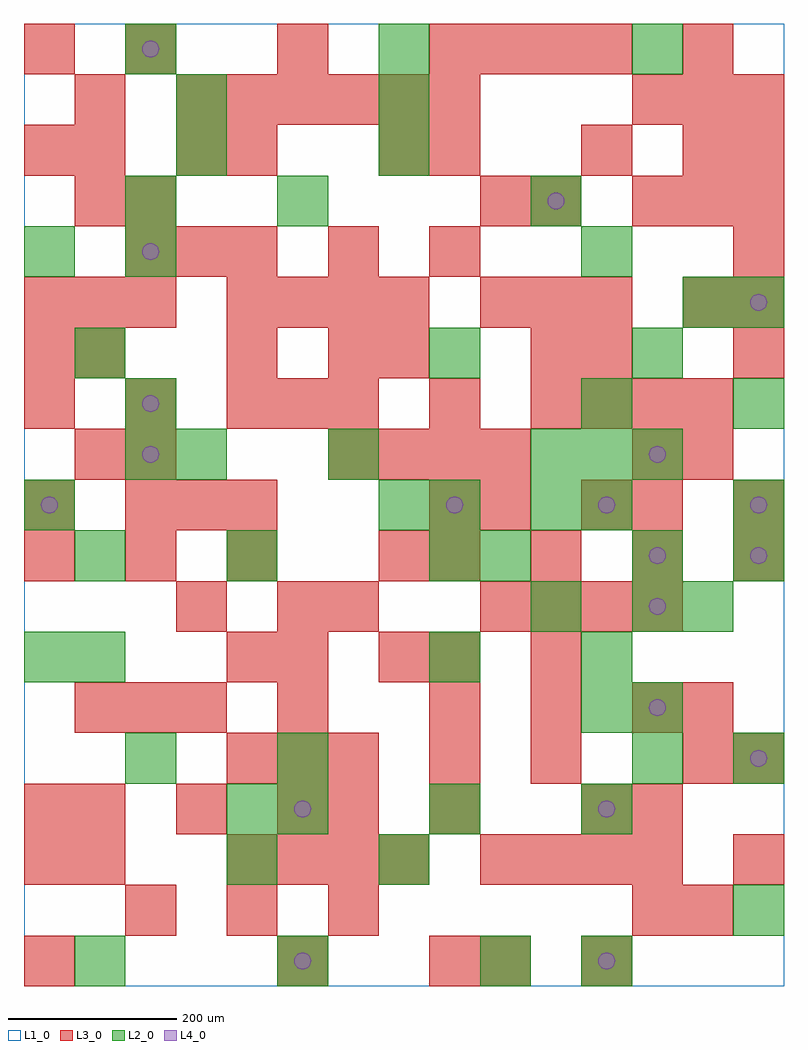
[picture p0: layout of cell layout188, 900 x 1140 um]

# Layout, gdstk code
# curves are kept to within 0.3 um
import gdstk
lib = gdstk.Library(unit=1e-6, precision=1e-09)
def R(c, l, rs):  # rectangles x0, y0, x1, y1
    for r in rs: c.add(gdstk.rectangle(r[:2], r[2:], *l))
def A(c, l, x, y, w, h, nx, ny, dx, dy):  # array of equal rectangles
    R(c, l, [(x+i*dx, y+j*dy, x+i*dx+w, y+j*dy+h) for i in range(nx) for j in range(ny)])
def P(c, l, *ps):  # polygons
    for p in ps: c.add(gdstk.Polygon(p, *l))
L1_0 = (1, 0)
L2_0 = (2, 0)
L3_0 = (3, 0)
L4_0 = (4, 0)

layout188 = lib.new_cell('layout188')
R(layout188, L1_0, [(0,0,900,1140)])
A(layout188, L2_0, 60, 0, 60, 60, 3, 1, 240, 0)
A(layout188, L2_0, 420, 120, 60, 60, 1, 3, 0, 420)
A(layout188, L2_0, 300, 180, 60, 60, 3, 1, 180, 0)
A(layout188, L2_0, 840, 540, 60, 60, 1, 3, 0, 120)
A(layout188, L2_0, 600, 600, 60, 60, 3, 1, 60, 0)
A(layout188, L2_0, 120, 1080, 60, 60, 3, 1, 300, 0)
R(layout188, L2_0, [(660,0,720,60), (840,60,900,120), (240,120,300,180), (240,180,300,240), (120,240,180,300), (300,240,360,300), (720,240,780,300), (840,240,900,300), (660,300,720,360), (720,300,780,360), (0,360,60,420), (60,360,120,420), (480,360,540,420), (660,360,720,420), (600,420,660,480), (720,420,780,480), (780,420,840,480), (60,480,120,540), (240,480,300,540), (480,480,540,540), (540,480,600,540), (720,480,780,540), (840,480,900,540), (0,540,60,600), (480,540,540,600), (600,540,660,600), (660,540,720,600), (120,600,180,660), (180,600,240,660), (360,600,420,660), (120,660,180,720), (660,660,720,720), (60,720,120,780), (480,720,540,780), (720,720,780,780), (780,780,840,840), (0,840,60,900), (120,840,180,900), (660,840,720,900), (120,900,180,960), (300,900,360,960), (600,900,660,960), (180,960,240,1020), (180,1020,240,1080), (420,1020,480,1080)])
A(layout188, L3_0, 120, 60, 60, 60, 3, 1, 120, 0)
A(layout188, L3_0, 240, 120, 60, 60, 4, 2, 60, 660)
A(layout188, L3_0, 540, 120, 60, 60, 4, 2, 60, 300)
A(layout188, L3_0, 60, 180, 60, 60, 3, 1, 120, 0)
A(layout188, L3_0, 240, 240, 60, 60, 3, 1, 60, 0)
A(layout188, L3_0, 60, 300, 60, 60, 3, 1, 60, 0)
A(layout188, L3_0, 300, 300, 60, 60, 1, 3, 0, 60)
A(layout188, L3_0, 480, 300, 60, 60, 3, 1, 120, 0)
A(layout188, L3_0, 0, 480, 60, 60, 3, 2, 120, 180)
A(layout188, L3_0, 420, 480, 60, 60, 1, 3, 0, 240)
A(layout188, L3_0, 480, 480, 60, 60, 4, 1, 120, 0)
A(layout188, L3_0, 120, 540, 60, 60, 3, 2, 60, 300)
A(layout188, L3_0, 360, 600, 60, 60, 4, 1, 60, 0)
A(layout188, L3_0, 780, 600, 60, 60, 1, 3, 0, 180)
A(layout188, L3_0, 360, 660, 60, 60, 3, 1, 120, 0)
A(layout188, L3_0, 660, 660, 60, 60, 3, 1, 60, 0)
A(layout188, L3_0, 840, 720, 60, 60, 1, 3, 0, 60)
A(layout188, L3_0, 0, 780, 60, 60, 3, 1, 60, 0)
A(layout188, L3_0, 540, 780, 60, 60, 3, 2, 60, 300)
A(layout188, L3_0, 60, 900, 60, 60, 1, 3, 0, 60)
A(layout188, L3_0, 720, 900, 60, 60, 3, 2, 60, 120)
A(layout188, L3_0, 180, 1020, 60, 60, 6, 1, 60, 0)
A(layout188, L3_0, 120, 1080, 60, 60, 3, 1, 180, 0)
R(layout188, L3_0, [(0,0,60,60), (300,0,360,60), (480,0,540,60), (540,0,600,60), (660,0,720,60), (720,60,780,120), (780,60,840,120), (0,120,60,180), (60,120,120,180), (840,120,900,180), (0,180,60,240), (360,180,420,240), (480,180,540,240), (660,180,720,240), (720,180,780,240), (480,240,540,300), (600,240,660,300), (780,240,840,300), (840,240,900,300), (780,300,840,360), (240,360,300,420), (420,360,480,420), (480,360,540,420), (600,360,660,420), (180,420,240,480), (360,420,420,480), (0,540,60,600), (480,540,540,600), (540,540,600,600), (660,540,720,600), (720,540,780,600), (840,540,900,600), (60,600,120,660), (120,600,180,660), (720,600,780,660), (300,660,360,720), (0,720,60,780), (60,720,120,780), (240,720,300,780), (360,720,420,780), (600,720,660,780), (660,720,720,780), (360,840,420,900), (480,840,540,900), (120,900,180,960), (540,900,600,960), (600,900,660,960), (0,960,60,1020), (180,960,240,1020), (240,960,300,1020), (480,960,540,1020), (660,960,720,1020), (840,960,900,1020), (0,1080,60,1140), (780,1080,840,1140)])
P(layout188, L4_0, [(40,570),(39.239,573.827),(37.071,577.071),(33.827,579.239),(30,580),(26.173,579.239),(22.929,577.071),(20.761,573.827),(20,570),(20.761,566.173),(22.929,562.929),(26.173,560.761),(30,560),(33.827,560.761),(37.071,562.929),(39.239,566.173)],
  [(160,630),(159.239,633.827),(157.071,637.071),(153.827,639.239),(150,640),(146.173,639.239),(142.929,637.071),(140.761,633.827),(140,630),(140.761,626.173),(142.929,622.929),(146.173,620.761),(150,620),(153.827,620.761),(157.071,622.929),(159.239,626.173)],
  [(160,690),(159.239,693.827),(157.071,697.071),(153.827,699.239),(150,700),(146.173,699.239),(142.929,697.071),(140.761,693.827),(140,690),(140.761,686.173),(142.929,682.929),(146.173,680.761),(150,680),(153.827,680.761),(157.071,682.929),(159.239,686.173)],
  [(160,870),(159.239,873.827),(157.071,877.071),(153.827,879.239),(150,880),(146.173,879.239),(142.929,877.071),(140.761,873.827),(140,870),(140.761,866.173),(142.929,862.929),(146.173,860.761),(150,860),(153.827,860.761),(157.071,862.929),(159.239,866.173)],
  [(160,1110),(159.239,1113.827),(157.071,1117.071),(153.827,1119.239),(150,1120),(146.173,1119.239),(142.929,1117.071),(140.761,1113.827),(140,1110),(140.761,1106.173),(142.929,1102.929),(146.173,1100.761),(150,1100),(153.827,1100.761),(157.071,1102.929),(159.239,1106.173)],
  [(340,30),(339.239,33.827),(337.071,37.071),(333.827,39.239),(330,40),(326.173,39.239),(322.929,37.071),(320.761,33.827),(320,30),(320.761,26.173),(322.929,22.929),(326.173,20.761),(330,20),(333.827,20.761),(337.071,22.929),(339.239,26.173)],
  [(340,210),(339.239,213.827),(337.071,217.071),(333.827,219.239),(330,220),(326.173,219.239),(322.929,217.071),(320.761,213.827),(320,210),(320.761,206.173),(322.929,202.929),(326.173,200.761),(330,200),(333.827,200.761),(337.071,202.929),(339.239,206.173)],
  [(520,570),(519.239,573.827),(517.071,577.071),(513.827,579.239),(510,580),(506.173,579.239),(502.929,577.071),(500.761,573.827),(500,570),(500.761,566.173),(502.929,562.929),(506.173,560.761),(510,560),(513.827,560.761),(517.071,562.929),(519.239,566.173)],
  [(640,930),(639.239,933.827),(637.071,937.071),(633.827,939.239),(630,940),(626.173,939.239),(622.929,937.071),(620.761,933.827),(620,930),(620.761,926.173),(622.929,922.929),(626.173,920.761),(630,920),(633.827,920.761),(637.071,922.929),(639.239,926.173)],
  [(700,30),(699.239,33.827),(697.071,37.071),(693.827,39.239),(690,40),(686.173,39.239),(682.929,37.071),(680.761,33.827),(680,30),(680.761,26.173),(682.929,22.929),(686.173,20.761),(690,20),(693.827,20.761),(697.071,22.929),(699.239,26.173)],
  [(700,210),(699.239,213.827),(697.071,217.071),(693.827,219.239),(690,220),(686.173,219.239),(682.929,217.071),(680.761,213.827),(680,210),(680.761,206.173),(682.929,202.929),(686.173,200.761),(690,200),(693.827,200.761),(697.071,202.929),(699.239,206.173)],
  [(700,570),(699.239,573.827),(697.071,577.071),(693.827,579.239),(690,580),(686.173,579.239),(682.929,577.071),(680.761,573.827),(680,570),(680.761,566.173),(682.929,562.929),(686.173,560.761),(690,560),(693.827,560.761),(697.071,562.929),(699.239,566.173)],
  [(760,330),(759.239,333.827),(757.071,337.071),(753.827,339.239),(750,340),(746.173,339.239),(742.929,337.071),(740.761,333.827),(740,330),(740.761,326.173),(742.929,322.929),(746.173,320.761),(750,320),(753.827,320.761),(757.071,322.929),(759.239,326.173)],
  [(760,450),(759.239,453.827),(757.071,457.071),(753.827,459.239),(750,460),(746.173,459.239),(742.929,457.071),(740.761,453.827),(740,450),(740.761,446.173),(742.929,442.929),(746.173,440.761),(750,440),(753.827,440.761),(757.071,442.929),(759.239,446.173)],
  [(760,510),(759.239,513.827),(757.071,517.071),(753.827,519.239),(750,520),(746.173,519.239),(742.929,517.071),(740.761,513.827),(740,510),(740.761,506.173),(742.929,502.929),(746.173,500.761),(750,500),(753.827,500.761),(757.071,502.929),(759.239,506.173)],
  [(760,630),(759.239,633.827),(757.071,637.071),(753.827,639.239),(750,640),(746.173,639.239),(742.929,637.071),(740.761,633.827),(740,630),(740.761,626.173),(742.929,622.929),(746.173,620.761),(750,620),(753.827,620.761),(757.071,622.929),(759.239,626.173)],
  [(880,270),(879.239,273.827),(877.071,277.071),(873.827,279.239),(870,280),(866.173,279.239),(862.929,277.071),(860.761,273.827),(860,270),(860.761,266.173),(862.929,262.929),(866.173,260.761),(870,260),(873.827,260.761),(877.071,262.929),(879.239,266.173)],
  [(880,510),(879.239,513.827),(877.071,517.071),(873.827,519.239),(870,520),(866.173,519.239),(862.929,517.071),(860.761,513.827),(860,510),(860.761,506.173),(862.929,502.929),(866.173,500.761),(870,500),(873.827,500.761),(877.071,502.929),(879.239,506.173)],
  [(880,570),(879.239,573.827),(877.071,577.071),(873.827,579.239),(870,580),(866.173,579.239),(862.929,577.071),(860.761,573.827),(860,570),(860.761,566.173),(862.929,562.929),(866.173,560.761),(870,560),(873.827,560.761),(877.071,562.929),(879.239,566.173)],
  [(880,810),(879.239,813.827),(877.071,817.071),(873.827,819.239),(870,820),(866.173,819.239),(862.929,817.071),(860.761,813.827),(860,810),(860.761,806.173),(862.929,802.929),(866.173,800.761),(870,800),(873.827,800.761),(877.071,802.929),(879.239,806.173)])

lib.write_gds('layout188.gds')
